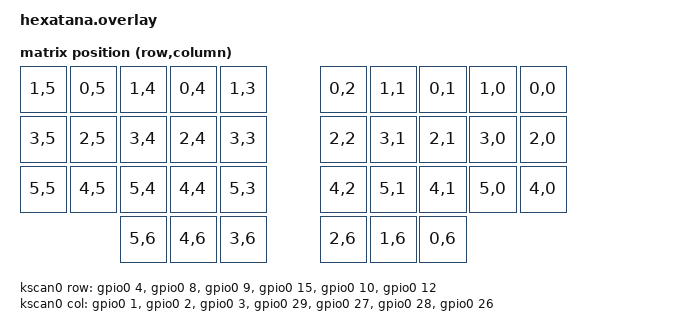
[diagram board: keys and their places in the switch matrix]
 #include <dt-bindings/zmk/matrix_transform.h>

/ {
    chosen {
        zmk,kscan = &kscan0;
        zmk,matrix_transform = &default_transform;
    };
    default_transform: keymap_transform_0 {
        compatible = "zmk,matrix-transform";
        columns = <7>;
        rows = <6>;
        map = <
            RC(1,5) RC(0,5) RC(1,4) RC(0,4) RC(1,3)      RC(0,2) RC(1,1) RC(0,1) RC(1,0) RC(0,0)
            RC(3,5) RC(2,5) RC(3,4) RC(2,4) RC(3,3)      RC(2,2) RC(3,1) RC(2,1) RC(3,0) RC(2,0)
            RC(5,5) RC(4,5) RC(5,4) RC(4,4) RC(5,3)      RC(4,2) RC(5,1) RC(4,1) RC(5,0) RC(4,0)
                            RC(5,6) RC(4,6) RC(3,6)      RC(2,6) RC(1,6) RC(0,6)
        >;
    };

    kscan0: kscan_0 {
        compatible = "zmk,kscan-gpio-matrix";
        label = "KSCAN";
        diode-direction = "col2row";

        col-gpios
            = <&gpio0 1  GPIO_ACTIVE_HIGH>
            , <&gpio0 2  GPIO_ACTIVE_HIGH>
            , <&gpio0 3  GPIO_ACTIVE_HIGH>
            , <&gpio0 29 GPIO_ACTIVE_HIGH>
            , <&gpio0 27 GPIO_ACTIVE_HIGH>
            , <&gpio0 28 GPIO_ACTIVE_HIGH>
            , <&gpio0 26 GPIO_ACTIVE_HIGH>
            ;

        row-gpios
            = <&gpio0 4  (GPIO_ACTIVE_HIGH | GPIO_PULL_DOWN)>
            , <&gpio0 8  (GPIO_ACTIVE_HIGH | GPIO_PULL_DOWN)>
            , <&gpio0 9  (GPIO_ACTIVE_HIGH | GPIO_PULL_DOWN)>
            , <&gpio0 15 (GPIO_ACTIVE_HIGH | GPIO_PULL_DOWN)>
            , <&gpio0 10 (GPIO_ACTIVE_HIGH | GPIO_PULL_DOWN)>
            , <&gpio0 12 (GPIO_ACTIVE_HIGH | GPIO_PULL_DOWN)>
            ;
    };
};
